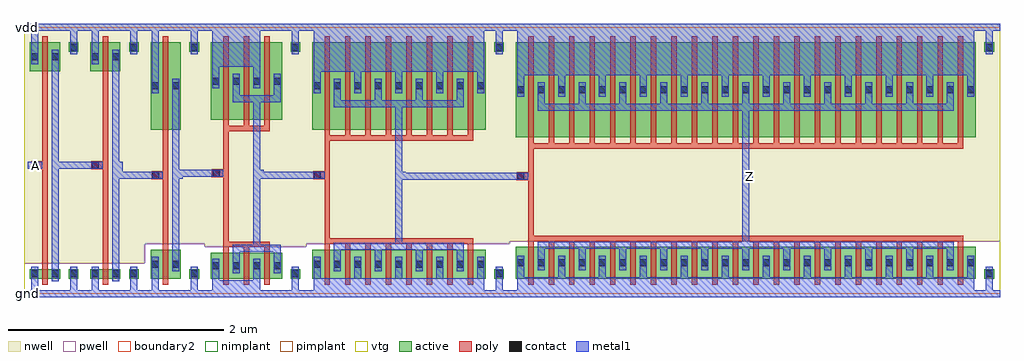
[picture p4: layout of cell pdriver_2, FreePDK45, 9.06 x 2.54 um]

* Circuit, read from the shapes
.subckt pdriver_2 A Z gnd vdd
M1 pinv_5_1/A A gnd gnd nfet w=0.09u l=0.05u
M2 pinv_10_2/A pinv_5_1/A gnd gnd nfet w=0.09u l=0.05u
M3 pinv_11_3/A pinv_10_2/A gnd gnd nfet w=0.27u l=0.05u
M4 pinv_12_4/A pinv_11_3/A gnd gnd nfet w=0.24u l=0.05u m=3
M5 pinv_13_5/A pinv_12_4/A gnd gnd nfet w=0.27u l=0.05u m=8
M6 Z pinv_13_5/A gnd gnd nfet w=0.295u l=0.05u m=22
M7 pinv_5_1/A A vdd vdd pfet w=0.27u l=0.05u
M8 pinv_10_2/A pinv_5_1/A vdd vdd pfet w=0.27u l=0.05u
M9 pinv_11_3/A pinv_10_2/A vdd vdd pfet w=0.81u l=0.05u
M10 pinv_12_4/A pinv_11_3/A vdd vdd pfet w=0.72u l=0.05u m=3
M11 pinv_13_5/A pinv_12_4/A vdd vdd pfet w=0.81u l=0.05u m=8
M12 Z pinv_13_5/A vdd vdd pfet w=0.8825u l=0.05u m=22
.ends

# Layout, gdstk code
import gdstk
lib = gdstk.Library(unit=1e-6, precision=5e-10)
def R(c, l, rs):  # rectangles x0, y0, x1, y1
    for r in rs: c.add(gdstk.rectangle(r[:2], r[2:], *l))
def A(c, l, x, y, w, h, nx, ny, dx, dy):  # array of equal rectangles
    R(c, l, [(x+i*dx, y+j*dy, x+i*dx+w, y+j*dy+h) for i in range(nx) for j in range(ny)])
active = (1, 0)
pwell = (2, 0)
nwell = (3, 0)
nimplant = (4, 0)
pimplant = (5, 0)
vtg = (6, 0)
poly = (9, 0)
contact = (10, 0)
metal1 = (11, 0)
boundary2 = (239, 0)

contact_9 = lib.new_cell('contact_9')
R(contact_9, active, [(0,0.0225,0.09,0.1125)])
R(contact_9, nwell, [(-0.055,-0.0325,0.145,0.1675)])
R(contact_9, pimplant, [(0,0.0225,0.09,0.1125)])
R(contact_9, contact, [(0.0125,0.035,0.0775,0.1)])
R(contact_9, metal1, [(0.0125,0,0.0775,0.135)])

pmos_m1_w0_270_a_p = lib.new_cell('pmos_m1_w0_270_a_p')
R(pmos_m1_w0_270_a_p, active, [(0,0,0.28,0.27)])
R(pmos_m1_w0_270_a_p, nwell, [(-0.055,-0.055,0.335,0.325)])
R(pmos_m1_w0_270_a_p, pimplant, [(0,0,0.28,0.27)])
R(pmos_m1_w0_270_a_p, vtg, [(-0.055,-0.055,0.335,0.325)])
R(pmos_m1_w0_270_a_p, poly, [(0.115,-0.055,0.165,0.325), (0.115,-0.055,0.165,0.325)])
R(pmos_m1_w0_270_a_p, metal1, [(0.0125,0.0675,0.0775,0.2025), (0.2025,0.0675,0.2675,0.2025)])
pmos_m1_w0_270_a_p.add(gdstk.Reference(contact_9, (0,0.0675)))
pmos_m1_w0_270_a_p.add(gdstk.Reference(contact_9, (0.19,0.0675)))
pmos_m1_w0_270_a_p.add(gdstk.Label('G', (0.14,0.135), layer=9, texttype=0))
pmos_m1_w0_270_a_p.add(gdstk.Label('S', (0.045,0.135), layer=11, texttype=0))
pmos_m1_w0_270_a_p.add(gdstk.Label('D', (0.235,0.135), layer=11, texttype=0))

contact_14 = lib.new_cell('contact_14')
R(contact_14, active, [(0,0.0225,0.09,0.1125)])
R(contact_14, pwell, [(-0.055,-0.0325,0.145,0.1675)])
R(contact_14, nimplant, [(0,0.0225,0.09,0.1125)])
R(contact_14, contact, [(0.0125,0.035,0.0775,0.1)])
R(contact_14, metal1, [(0.0125,0,0.0775,0.135)])

nmos_m1_w0_090_a_p = lib.new_cell('nmos_m1_w0_090_a_p')
R(nmos_m1_w0_090_a_p, active, [(0,0,0.28,0.09)])
R(nmos_m1_w0_090_a_p, pwell, [(-0.055,-0.055,0.335,0.145)])
R(nmos_m1_w0_090_a_p, nimplant, [(0,0,0.28,0.09)])
R(nmos_m1_w0_090_a_p, vtg, [(-0.055,-0.055,0.335,0.145)])
R(nmos_m1_w0_090_a_p, poly, [(0.115,-0.055,0.165,0.145), (0.115,-0.055,0.165,0.145)])
R(nmos_m1_w0_090_a_p, metal1, [(0.0125,-0.0225,0.0775,0.1125), (0.2025,-0.0225,0.2675,0.1125)])
nmos_m1_w0_090_a_p.add(gdstk.Reference(contact_14, (0,-0.0225)))
nmos_m1_w0_090_a_p.add(gdstk.Reference(contact_14, (0.19,-0.0225)))
nmos_m1_w0_090_a_p.add(gdstk.Label('G', (0.14,0.045), layer=9, texttype=0))
nmos_m1_w0_090_a_p.add(gdstk.Label('S', (0.045,0.045), layer=11, texttype=0))
nmos_m1_w0_090_a_p.add(gdstk.Label('D', (0.235,0.045), layer=11, texttype=0))

contact_18 = lib.new_cell('contact_18')
R(contact_18, active, [(0,0.0225,0.09,0.1125)])
R(contact_18, nwell, [(-0.055,-0.0325,0.145,0.1675)])
R(contact_18, nimplant, [(0,0.0225,0.09,0.1125)])
R(contact_18, contact, [(0.0125,0.035,0.0775,0.1)])
R(contact_18, metal1, [(0.0125,0,0.0775,0.135)])

contact_19 = lib.new_cell('contact_19')
R(contact_19, active, [(0,0.0225,0.09,0.1125)])
R(contact_19, pwell, [(-0.055,-0.0325,0.145,0.1675)])
R(contact_19, pimplant, [(0,0.0225,0.09,0.1125)])
R(contact_19, contact, [(0.0125,0.035,0.0775,0.1)])
R(contact_19, metal1, [(0.0125,0,0.0775,0.135)])

contact_10 = lib.new_cell('contact_10')
R(contact_10, poly, [(0.03,0,0.105,0.075)])
R(contact_10, contact, [(0.035,0.005,0.1,0.07)])
R(contact_10, metal1, [(0,0.005,0.135,0.07)])

pinv_5 = lib.new_cell('pinv_5')
R(pinv_5, pwell, [(0,-0.0325,0.56,0.285)])
R(pinv_5, nwell, [(0,0.285,0.56,2.5075)])
R(pinv_5, vtg, [(0,-0.0325,0.56,0.285), (0,0.285,0.56,2.5075)])
R(pinv_5, poly, [(0.17,0.085,0.22,2.01), (0.1025,1.155,0.17,1.23)])
R(pinv_5, metal1, [(0,-0.0325,0.56,0.0325), (0.0675,-0.0325,0.1325,0.1175), (0.4275,0,0.4925,0.185), (0.2575,0.1175,0.3225,2.2675), (0.035,1.16,0.17,1.225), (0.29,1.16,0.355,1.225), (0.0675,2.1325,0.1325,2.5075), (0.4275,2.29,0.4925,2.475), (0,2.4425,0.56,2.5075)])
R(pinv_5, boundary2, [(0,0,0.56,2.475)])
pinv_5.add(gdstk.Reference(pmos_m1_w0_270_a_p, (0.055,2.065)))
pinv_5.add(gdstk.Reference(nmos_m1_w0_090_a_p, (0.055,0.14)))
pinv_5.add(gdstk.Reference(contact_18, (0.415,2.2225)))
pinv_5.add(gdstk.Reference(contact_19, (0.415,0.1175)))
pinv_5.add(gdstk.Reference(contact_10, (0.035,1.155)))
pinv_5.add(gdstk.Label('gnd', (0.28,0), layer=11, texttype=0))
pinv_5.add(gdstk.Label('vdd', (0.28,2.475), layer=11, texttype=0))
pinv_5.add(gdstk.Label('A', (0.1025,1.1925), layer=11, texttype=0))
pinv_5.add(gdstk.Label('Z', (0.3225,1.1925), layer=11, texttype=0))

pmos_m1_w0_810_a_p = lib.new_cell('pmos_m1_w0_810_a_p')
R(pmos_m1_w0_810_a_p, active, [(0,0,0.28,0.81)])
R(pmos_m1_w0_810_a_p, nwell, [(-0.055,-0.055,0.335,0.865)])
R(pmos_m1_w0_810_a_p, pimplant, [(0,0,0.28,0.81)])
R(pmos_m1_w0_810_a_p, vtg, [(-0.055,-0.055,0.335,0.865)])
R(pmos_m1_w0_810_a_p, poly, [(0.115,-0.055,0.165,0.865), (0.115,-0.055,0.165,0.865)])
R(pmos_m1_w0_810_a_p, metal1, [(0.0125,0.3375,0.0775,0.4725), (0.2025,0.3375,0.2675,0.4725)])
pmos_m1_w0_810_a_p.add(gdstk.Reference(contact_9, (0,0.3375)))
pmos_m1_w0_810_a_p.add(gdstk.Reference(contact_9, (0.19,0.3375)))
pmos_m1_w0_810_a_p.add(gdstk.Label('G', (0.14,0.405), layer=9, texttype=0))
pmos_m1_w0_810_a_p.add(gdstk.Label('S', (0.045,0.405), layer=11, texttype=0))
pmos_m1_w0_810_a_p.add(gdstk.Label('D', (0.235,0.405), layer=11, texttype=0))

nmos_m1_w0_270_a_p = lib.new_cell('nmos_m1_w0_270_a_p')
R(nmos_m1_w0_270_a_p, active, [(0,0,0.28,0.27)])
R(nmos_m1_w0_270_a_p, pwell, [(-0.055,-0.055,0.335,0.325)])
R(nmos_m1_w0_270_a_p, nimplant, [(0,0,0.28,0.27)])
R(nmos_m1_w0_270_a_p, vtg, [(-0.055,-0.055,0.335,0.325)])
R(nmos_m1_w0_270_a_p, poly, [(0.115,-0.055,0.165,0.325), (0.115,-0.055,0.165,0.325)])
R(nmos_m1_w0_270_a_p, metal1, [(0.0125,0.0675,0.0775,0.2025), (0.2025,0.0675,0.2675,0.2025)])
nmos_m1_w0_270_a_p.add(gdstk.Reference(contact_14, (0,0.0675)))
nmos_m1_w0_270_a_p.add(gdstk.Reference(contact_14, (0.19,0.0675)))
nmos_m1_w0_270_a_p.add(gdstk.Label('G', (0.14,0.135), layer=9, texttype=0))
nmos_m1_w0_270_a_p.add(gdstk.Label('S', (0.045,0.135), layer=11, texttype=0))
nmos_m1_w0_270_a_p.add(gdstk.Label('D', (0.235,0.135), layer=11, texttype=0))

pinv_10 = lib.new_cell('pinv_10')
R(pinv_10, pwell, [(0,-0.0325,0.56,0.465)])
R(pinv_10, nwell, [(0,0.465,0.56,2.5075)])
R(pinv_10, vtg, [(0,-0.0325,0.56,0.465), (0,0.465,0.56,2.5075)])
R(pinv_10, poly, [(0.17,0.085,0.22,1.47), (0.1025,1.065,0.17,1.14)])
R(pinv_10, metal1, [(0,-0.0325,0.56,0.0325), (0.0675,-0.0325,0.1325,0.2075), (0.4275,0,0.4925,0.185), (0.2575,0.2075,0.3225,1.9975), (0.035,1.07,0.17,1.135), (0.29,1.07,0.355,1.135), (0.0675,1.8625,0.1325,2.5075), (0.4275,2.29,0.4925,2.475), (0,2.4425,0.56,2.5075)])
R(pinv_10, boundary2, [(0,0,0.56,2.475)])
pinv_10.add(gdstk.Reference(pmos_m1_w0_810_a_p, (0.055,1.525)))
pinv_10.add(gdstk.Reference(nmos_m1_w0_270_a_p, (0.055,0.14)))
pinv_10.add(gdstk.Reference(contact_18, (0.415,2.2225)))
pinv_10.add(gdstk.Reference(contact_19, (0.415,0.1175)))
pinv_10.add(gdstk.Reference(contact_10, (0.035,1.065)))
pinv_10.add(gdstk.Label('gnd', (0.28,0), layer=11, texttype=0))
pinv_10.add(gdstk.Label('vdd', (0.28,2.475), layer=11, texttype=0))
pinv_10.add(gdstk.Label('A', (0.1025,1.1025), layer=11, texttype=0))
pinv_10.add(gdstk.Label('Z', (0.3225,1.1025), layer=11, texttype=0))

pmos_m3_w0_720_a_p = lib.new_cell('pmos_m3_w0_720_a_p')
R(pmos_m3_w0_720_a_p, active, [(0,0,0.66,0.72)])
R(pmos_m3_w0_720_a_p, nwell, [(-0.055,-0.055,0.715,0.775)])
R(pmos_m3_w0_720_a_p, pimplant, [(0,0,0.66,0.72)])
R(pmos_m3_w0_720_a_p, vtg, [(-0.055,-0.055,0.715,0.775)])
A(pmos_m3_w0_720_a_p, poly, 0.115, -0.055, 0.05, 0.83, 3, 1, 0.19, 0)
R(pmos_m3_w0_720_a_p, poly, [(0.115,-0.105,0.545,-0.055)])
R(pmos_m3_w0_720_a_p, metal1, [(0.2025,0.1625,0.6475,0.2275), (0.2025,0.195,0.2675,0.36), (0.5825,0.195,0.6475,0.36), (0.0125,0.36,0.0775,0.525), (0.3925,0.36,0.4575,0.525), (0.0125,0.4925,0.4575,0.5575)])
pmos_m3_w0_720_a_p.add(gdstk.Reference(contact_9, (0,0.2925)))
pmos_m3_w0_720_a_p.add(gdstk.Reference(contact_9, (0.38,0.2925)))
pmos_m3_w0_720_a_p.add(gdstk.Reference(contact_9, (0.19,0.2925)))
pmos_m3_w0_720_a_p.add(gdstk.Reference(contact_9, (0.57,0.2925)))
pmos_m3_w0_720_a_p.add(gdstk.Label('G', (0.33,-0.08), layer=9, texttype=0))
pmos_m3_w0_720_a_p.add(gdstk.Label('S', (0.235,0.525), layer=11, texttype=0))
pmos_m3_w0_720_a_p.add(gdstk.Label('D', (0.425,0.195), layer=11, texttype=0))

nmos_m3_w0_240_a_p = lib.new_cell('nmos_m3_w0_240_a_p')
R(nmos_m3_w0_240_a_p, active, [(0,0,0.66,0.24)])
R(nmos_m3_w0_240_a_p, pwell, [(-0.055,-0.055,0.715,0.295)])
R(nmos_m3_w0_240_a_p, nimplant, [(0,0,0.66,0.24)])
R(nmos_m3_w0_240_a_p, vtg, [(-0.055,-0.055,0.715,0.295)])
A(nmos_m3_w0_240_a_p, poly, 0.115, -0.055, 0.05, 0.35, 3, 1, 0.19, 0)
R(nmos_m3_w0_240_a_p, poly, [(0.115,0.295,0.545,0.345)])
R(nmos_m3_w0_240_a_p, metal1, [(0.0125,-0.0775,0.4575,-0.0125), (0.0125,-0.045,0.0775,0.12), (0.3925,-0.045,0.4575,0.12), (0.2025,0.12,0.2675,0.285), (0.5825,0.12,0.6475,0.285), (0.2025,0.2525,0.6475,0.3175)])
nmos_m3_w0_240_a_p.add(gdstk.Reference(contact_14, (0,0.0525)))
nmos_m3_w0_240_a_p.add(gdstk.Reference(contact_14, (0.38,0.0525)))
nmos_m3_w0_240_a_p.add(gdstk.Reference(contact_14, (0.19,0.0525)))
nmos_m3_w0_240_a_p.add(gdstk.Reference(contact_14, (0.57,0.0525)))
nmos_m3_w0_240_a_p.add(gdstk.Label('G', (0.33,0.32), layer=9, texttype=0))
nmos_m3_w0_240_a_p.add(gdstk.Label('S', (0.235,-0.045), layer=11, texttype=0))
nmos_m3_w0_240_a_p.add(gdstk.Label('D', (0.425,0.285), layer=11, texttype=0))

pinv_11 = lib.new_cell('pinv_11')
R(pinv_11, pwell, [(0,-0.0325,0.94,0.435)])
R(pinv_11, nwell, [(0,0.435,0.94,2.5075)])
R(pinv_11, vtg, [(0,-0.0325,0.94,0.435), (0,0.435,0.94,2.5075)])
R(pinv_11, poly, [(0.17,0.435,0.22,1.51), (0.1025,1.08,0.17,1.155)])
R(pinv_11, metal1, [(0,-0.0325,0.94,0.0325), (0.0675,-0.0325,0.5125,0.0625), (0.8075,0,0.8725,0.185), (0.4475,0.3925,0.5125,1.8425), (0.035,1.085,0.17,1.15), (0.48,1.085,0.545,1.15), (0.0675,2.1075,0.5125,2.5075), (0.8075,2.29,0.8725,2.475), (0,2.4425,0.94,2.5075)])
R(pinv_11, boundary2, [(0,0,0.94,2.475)])
pinv_11.add(gdstk.Reference(pmos_m3_w0_720_a_p, (0.055,1.615)))
pinv_11.add(gdstk.Reference(nmos_m3_w0_240_a_p, (0.055,0.14)))
pinv_11.add(gdstk.Reference(contact_18, (0.795,2.2225)))
pinv_11.add(gdstk.Reference(contact_19, (0.795,0.1175)))
pinv_11.add(gdstk.Reference(contact_10, (0.035,1.08)))
pinv_11.add(gdstk.Label('gnd', (0.47,0), layer=11, texttype=0))
pinv_11.add(gdstk.Label('vdd', (0.47,2.475), layer=11, texttype=0))
pinv_11.add(gdstk.Label('A', (0.1025,1.1175), layer=11, texttype=0))
pinv_11.add(gdstk.Label('Z', (0.5125,1.1175), layer=11, texttype=0))

pmos_m8_w0_810_a_p = lib.new_cell('pmos_m8_w0_810_a_p')
R(pmos_m8_w0_810_a_p, active, [(0,0,1.61,0.81)])
R(pmos_m8_w0_810_a_p, nwell, [(-0.055,-0.055,1.665,0.865)])
R(pmos_m8_w0_810_a_p, pimplant, [(0,0,1.61,0.81)])
R(pmos_m8_w0_810_a_p, vtg, [(-0.055,-0.055,1.665,0.865)])
A(pmos_m8_w0_810_a_p, poly, 0.115, -0.055, 0.05, 0.92, 8, 1, 0.19, 0)
R(pmos_m8_w0_810_a_p, poly, [(0.115,-0.105,1.495,-0.055)])
A(pmos_m8_w0_810_a_p, metal1, 0.2025, 0.24, 0.065, 0.165, 4, 1, 0.38, 0)
A(pmos_m8_w0_810_a_p, metal1, 0.0125, 0.405, 0.065, 0.165, 5, 1, 0.38, 0)
R(pmos_m8_w0_810_a_p, metal1, [(0.2025,0.2075,1.4075,0.2725), (0.0125,0.5375,1.5975,0.6025)])
pmos_m8_w0_810_a_p.add(gdstk.Reference(contact_9, (0,0.3375)))
pmos_m8_w0_810_a_p.add(gdstk.Reference(contact_9, (0.38,0.3375)))
pmos_m8_w0_810_a_p.add(gdstk.Reference(contact_9, (0.76,0.3375)))
pmos_m8_w0_810_a_p.add(gdstk.Reference(contact_9, (1.14,0.3375)))
pmos_m8_w0_810_a_p.add(gdstk.Reference(contact_9, (1.52,0.3375)))
pmos_m8_w0_810_a_p.add(gdstk.Reference(contact_9, (0.19,0.3375)))
pmos_m8_w0_810_a_p.add(gdstk.Reference(contact_9, (0.57,0.3375)))
pmos_m8_w0_810_a_p.add(gdstk.Reference(contact_9, (0.95,0.3375)))
pmos_m8_w0_810_a_p.add(gdstk.Reference(contact_9, (1.33,0.3375)))
pmos_m8_w0_810_a_p.add(gdstk.Label('G', (0.805,-0.08), layer=9, texttype=0))
pmos_m8_w0_810_a_p.add(gdstk.Label('S', (0.805,0.57), layer=11, texttype=0))
pmos_m8_w0_810_a_p.add(gdstk.Label('D', (0.805,0.24), layer=11, texttype=0))

nmos_m8_w0_270_a_p = lib.new_cell('nmos_m8_w0_270_a_p')
R(nmos_m8_w0_270_a_p, active, [(0,0,1.61,0.27)])
R(nmos_m8_w0_270_a_p, pwell, [(-0.055,-0.055,1.665,0.325)])
R(nmos_m8_w0_270_a_p, nimplant, [(0,0,1.61,0.27)])
R(nmos_m8_w0_270_a_p, vtg, [(-0.055,-0.055,1.665,0.325)])
A(nmos_m8_w0_270_a_p, poly, 0.115, -0.055, 0.05, 0.38, 8, 1, 0.19, 0)
R(nmos_m8_w0_270_a_p, poly, [(0.115,0.325,1.495,0.375)])
A(nmos_m8_w0_270_a_p, metal1, 0.0125, -0.03, 0.065, 0.165, 5, 1, 0.38, 0)
A(nmos_m8_w0_270_a_p, metal1, 0.2025, 0.135, 0.065, 0.165, 4, 1, 0.38, 0)
R(nmos_m8_w0_270_a_p, metal1, [(0.0125,-0.0625,1.5975,0.0025), (0.2025,0.2675,1.4075,0.3325)])
nmos_m8_w0_270_a_p.add(gdstk.Reference(contact_14, (0,0.0675)))
nmos_m8_w0_270_a_p.add(gdstk.Reference(contact_14, (0.38,0.0675)))
nmos_m8_w0_270_a_p.add(gdstk.Reference(contact_14, (0.76,0.0675)))
nmos_m8_w0_270_a_p.add(gdstk.Reference(contact_14, (1.14,0.0675)))
nmos_m8_w0_270_a_p.add(gdstk.Reference(contact_14, (1.52,0.0675)))
nmos_m8_w0_270_a_p.add(gdstk.Reference(contact_14, (0.19,0.0675)))
nmos_m8_w0_270_a_p.add(gdstk.Reference(contact_14, (0.57,0.0675)))
nmos_m8_w0_270_a_p.add(gdstk.Reference(contact_14, (0.95,0.0675)))
nmos_m8_w0_270_a_p.add(gdstk.Reference(contact_14, (1.33,0.0675)))
nmos_m8_w0_270_a_p.add(gdstk.Label('G', (0.805,0.35), layer=9, texttype=0))
nmos_m8_w0_270_a_p.add(gdstk.Label('S', (0.805,-0.03), layer=11, texttype=0))
nmos_m8_w0_270_a_p.add(gdstk.Label('D', (0.805,0.3), layer=11, texttype=0))

pinv_12 = lib.new_cell('pinv_12')
R(pinv_12, pwell, [(0,-0.0325,1.89,0.465)])
R(pinv_12, nwell, [(0,0.465,1.89,2.5075)])
R(pinv_12, vtg, [(0,-0.0325,1.89,0.465), (0,0.465,1.89,2.5075)])
R(pinv_12, poly, [(0.17,0.465,0.22,1.42), (0.1025,1.065,0.17,1.14)])
R(pinv_12, metal1, [(0,-0.0325,1.89,0.0325), (0.0675,-0.0325,1.6525,0.0775), (1.7575,0,1.8225,0.185), (0.8275,0.4075,0.8925,1.7975), (0.035,1.07,0.17,1.135), (0.86,1.07,0.925,1.135), (0.0675,2.0625,1.6525,2.5075), (1.7575,2.29,1.8225,2.475), (0,2.4425,1.89,2.5075)])
R(pinv_12, boundary2, [(0,0,1.89,2.475)])
pinv_12.add(gdstk.Reference(pmos_m8_w0_810_a_p, (0.055,1.525)))
pinv_12.add(gdstk.Reference(nmos_m8_w0_270_a_p, (0.055,0.14)))
pinv_12.add(gdstk.Reference(contact_18, (1.745,2.2225)))
pinv_12.add(gdstk.Reference(contact_19, (1.745,0.1175)))
pinv_12.add(gdstk.Reference(contact_10, (0.035,1.065)))
pinv_12.add(gdstk.Label('gnd', (0.945,0), layer=11, texttype=0))
pinv_12.add(gdstk.Label('vdd', (0.945,2.475), layer=11, texttype=0))
pinv_12.add(gdstk.Label('A', (0.1025,1.1025), layer=11, texttype=0))
pinv_12.add(gdstk.Label('Z', (0.8925,1.1025), layer=11, texttype=0))

pmos_m22_w0_883_a_p = lib.new_cell('pmos_m22_w0_883_a_p')
R(pmos_m22_w0_883_a_p, active, [(0,0,4.27,0.8825)])
R(pmos_m22_w0_883_a_p, nwell, [(-0.055,-0.055,4.325,0.9375)])
R(pmos_m22_w0_883_a_p, pimplant, [(0,0,4.27,0.8825)])
R(pmos_m22_w0_883_a_p, vtg, [(-0.055,-0.055,4.325,0.9375)])
A(pmos_m22_w0_883_a_p, poly, 0.115, -0.055, 0.05, 0.9925, 22, 1, 0.19, 0)
R(pmos_m22_w0_883_a_p, poly, [(0.115,-0.105,4.155,-0.055)])
A(pmos_m22_w0_883_a_p, metal1, 0.2025, 0.275, 0.065, 0.165, 11, 1, 0.38, 0)
A(pmos_m22_w0_883_a_p, metal1, 0.0125, 0.44, 0.065, 0.165, 12, 1, 0.38, 0)
R(pmos_m22_w0_883_a_p, metal1, [(0.2025,0.245,4.0675,0.31), (0.0125,0.575,4.2575,0.64)])
pmos_m22_w0_883_a_p.add(gdstk.Reference(contact_9, (0,0.375)))
pmos_m22_w0_883_a_p.add(gdstk.Reference(contact_9, (0.38,0.375)))
pmos_m22_w0_883_a_p.add(gdstk.Reference(contact_9, (0.76,0.375)))
pmos_m22_w0_883_a_p.add(gdstk.Reference(contact_9, (1.14,0.375)))
pmos_m22_w0_883_a_p.add(gdstk.Reference(contact_9, (1.52,0.375)))
pmos_m22_w0_883_a_p.add(gdstk.Reference(contact_9, (1.9,0.375)))
pmos_m22_w0_883_a_p.add(gdstk.Reference(contact_9, (2.28,0.375)))
pmos_m22_w0_883_a_p.add(gdstk.Reference(contact_9, (2.66,0.375)))
pmos_m22_w0_883_a_p.add(gdstk.Reference(contact_9, (3.04,0.375)))
pmos_m22_w0_883_a_p.add(gdstk.Reference(contact_9, (3.42,0.375)))
pmos_m22_w0_883_a_p.add(gdstk.Reference(contact_9, (3.8,0.375)))
pmos_m22_w0_883_a_p.add(gdstk.Reference(contact_9, (4.18,0.375)))
pmos_m22_w0_883_a_p.add(gdstk.Reference(contact_9, (0.19,0.375)))
pmos_m22_w0_883_a_p.add(gdstk.Reference(contact_9, (0.57,0.375)))
pmos_m22_w0_883_a_p.add(gdstk.Reference(contact_9, (0.95,0.375)))
pmos_m22_w0_883_a_p.add(gdstk.Reference(contact_9, (1.33,0.375)))
pmos_m22_w0_883_a_p.add(gdstk.Reference(contact_9, (1.71,0.375)))
pmos_m22_w0_883_a_p.add(gdstk.Reference(contact_9, (2.09,0.375)))
pmos_m22_w0_883_a_p.add(gdstk.Reference(contact_9, (2.47,0.375)))
pmos_m22_w0_883_a_p.add(gdstk.Reference(contact_9, (2.85,0.375)))
pmos_m22_w0_883_a_p.add(gdstk.Reference(contact_9, (3.23,0.375)))
pmos_m22_w0_883_a_p.add(gdstk.Reference(contact_9, (3.61,0.375)))
pmos_m22_w0_883_a_p.add(gdstk.Reference(contact_9, (3.99,0.375)))
pmos_m22_w0_883_a_p.add(gdstk.Label('G', (2.135,-0.08), layer=9, texttype=0))
pmos_m22_w0_883_a_p.add(gdstk.Label('S', (2.135,0.6075), layer=11, texttype=0))
pmos_m22_w0_883_a_p.add(gdstk.Label('D', (2.135,0.2775), layer=11, texttype=0))

nmos_m22_w0_295_a_p = lib.new_cell('nmos_m22_w0_295_a_p')
R(nmos_m22_w0_295_a_p, active, [(0,0,4.27,0.295)])
R(nmos_m22_w0_295_a_p, pwell, [(-0.055,-0.055,4.325,0.35)])
R(nmos_m22_w0_295_a_p, nimplant, [(0,0,4.27,0.295)])
R(nmos_m22_w0_295_a_p, vtg, [(-0.055,-0.055,4.325,0.35)])
A(nmos_m22_w0_295_a_p, poly, 0.115, -0.055, 0.05, 0.405, 22, 1, 0.19, 0)
R(nmos_m22_w0_295_a_p, poly, [(0.115,0.35,4.155,0.4)])
A(nmos_m22_w0_295_a_p, metal1, 0.0125, -0.0175, 0.065, 0.165, 12, 1, 0.38, 0)
A(nmos_m22_w0_295_a_p, metal1, 0.2025, 0.1475, 0.065, 0.165, 11, 1, 0.38, 0)
R(nmos_m22_w0_295_a_p, metal1, [(0.0125,-0.05,4.2575,0.015), (0.2025,0.28,4.0675,0.345)])
nmos_m22_w0_295_a_p.add(gdstk.Reference(contact_14, (0,0.08)))
nmos_m22_w0_295_a_p.add(gdstk.Reference(contact_14, (0.38,0.08)))
nmos_m22_w0_295_a_p.add(gdstk.Reference(contact_14, (0.76,0.08)))
nmos_m22_w0_295_a_p.add(gdstk.Reference(contact_14, (1.14,0.08)))
nmos_m22_w0_295_a_p.add(gdstk.Reference(contact_14, (1.52,0.08)))
nmos_m22_w0_295_a_p.add(gdstk.Reference(contact_14, (1.9,0.08)))
nmos_m22_w0_295_a_p.add(gdstk.Reference(contact_14, (2.28,0.08)))
nmos_m22_w0_295_a_p.add(gdstk.Reference(contact_14, (2.66,0.08)))
nmos_m22_w0_295_a_p.add(gdstk.Reference(contact_14, (3.04,0.08)))
nmos_m22_w0_295_a_p.add(gdstk.Reference(contact_14, (3.42,0.08)))
nmos_m22_w0_295_a_p.add(gdstk.Reference(contact_14, (3.8,0.08)))
nmos_m22_w0_295_a_p.add(gdstk.Reference(contact_14, (4.18,0.08)))
nmos_m22_w0_295_a_p.add(gdstk.Reference(contact_14, (0.19,0.08)))
nmos_m22_w0_295_a_p.add(gdstk.Reference(contact_14, (0.57,0.08)))
nmos_m22_w0_295_a_p.add(gdstk.Reference(contact_14, (0.95,0.08)))
nmos_m22_w0_295_a_p.add(gdstk.Reference(contact_14, (1.33,0.08)))
nmos_m22_w0_295_a_p.add(gdstk.Reference(contact_14, (1.71,0.08)))
nmos_m22_w0_295_a_p.add(gdstk.Reference(contact_14, (2.09,0.08)))
nmos_m22_w0_295_a_p.add(gdstk.Reference(contact_14, (2.47,0.08)))
nmos_m22_w0_295_a_p.add(gdstk.Reference(contact_14, (2.85,0.08)))
nmos_m22_w0_295_a_p.add(gdstk.Reference(contact_14, (3.23,0.08)))
nmos_m22_w0_295_a_p.add(gdstk.Reference(contact_14, (3.61,0.08)))
nmos_m22_w0_295_a_p.add(gdstk.Reference(contact_14, (3.99,0.08)))
nmos_m22_w0_295_a_p.add(gdstk.Label('G', (2.135,0.375), layer=9, texttype=0))
nmos_m22_w0_295_a_p.add(gdstk.Label('S', (2.135,-0.0175), layer=11, texttype=0))
nmos_m22_w0_295_a_p.add(gdstk.Label('D', (2.135,0.3125), layer=11, texttype=0))

pinv_13 = lib.new_cell('pinv_13')
R(pinv_13, pwell, [(0,-0.0325,4.55,0.49)])
R(pinv_13, nwell, [(0,0.49,4.55,2.5075)])
R(pinv_13, vtg, [(0,-0.0325,4.55,0.49), (0,0.49,4.55,2.5075)])
R(pinv_13, poly, [(0.17,0.49,0.22,1.3475), (0.1025,1.055,0.17,1.13)])
R(pinv_13, metal1, [(0,-0.0325,4.55,0.0325), (0.0675,-0.0325,4.3125,0.09), (4.4175,0,4.4825,0.185), (2.1575,0.42,2.2225,1.7625), (0.035,1.06,0.17,1.125), (2.19,1.06,2.255,1.125), (0.0675,2.0275,4.3125,2.5075), (4.4175,2.29,4.4825,2.475), (0,2.4425,4.55,2.5075)])
R(pinv_13, boundary2, [(0,0,4.55,2.475)])
pinv_13.add(gdstk.Reference(pmos_m22_w0_883_a_p, (0.055,1.4525)))
pinv_13.add(gdstk.Reference(nmos_m22_w0_295_a_p, (0.055,0.14)))
pinv_13.add(gdstk.Reference(contact_18, (4.405,2.2225)))
pinv_13.add(gdstk.Reference(contact_19, (4.405,0.1175)))
pinv_13.add(gdstk.Reference(contact_10, (0.035,1.055)))
pinv_13.add(gdstk.Label('gnd', (2.275,0), layer=11, texttype=0))
pinv_13.add(gdstk.Label('vdd', (2.275,2.475), layer=11, texttype=0))
pinv_13.add(gdstk.Label('A', (0.1025,1.0925), layer=11, texttype=0))
pinv_13.add(gdstk.Label('Z', (2.2225,1.0925), layer=11, texttype=0))

pdriver_2 = lib.new_cell('pdriver_2')
R(pdriver_2, metal1, [(0,-0.0325,0.065,0.0325), (3.48,1.06,3.545,1.125), (3.5125,1.06,4.6125,1.125), (6.7,1.06,6.765,1.125), (0.85,1.07,0.915,1.135), (0.8825,1.07,1.2225,1.135), (2.16,1.07,2.225,1.135), (2.1925,1.07,2.7225,1.135), (1.41,1.085,1.475,1.15), (1.4425,1.085,1.7825,1.15), (3.48,1.0925,3.545,1.1025), (0.85,1.1025,0.915,1.1925), (1.41,1.1025,1.475,1.1175), (2.16,1.1025,2.225,1.1175), (0.035,1.16,0.17,1.225), (0.3225,1.16,0.6625,1.225), (0,2.4425,0.065,2.5075)])
R(pdriver_2, boundary2, [(0,0,9.06,2.475)])
pdriver_2.add(gdstk.Reference(pinv_5, (0,0)))
pdriver_2.add(gdstk.Reference(pinv_5, (0.56,0)))
pdriver_2.add(gdstk.Reference(pinv_10, (1.12,0)))
pdriver_2.add(gdstk.Reference(pinv_11, (1.68,0)))
pdriver_2.add(gdstk.Reference(pinv_12, (2.62,0)))
pdriver_2.add(gdstk.Reference(pinv_13, (4.51,0)))
pdriver_2.add(gdstk.Label('vdd', (0.0325,2.475), layer=11, texttype=0))
pdriver_2.add(gdstk.Label('gnd', (0.0325,0), layer=11, texttype=0))
pdriver_2.add(gdstk.Label('Z', (6.7325,1.0925), layer=11, texttype=0))
pdriver_2.add(gdstk.Label('A', (0.1025,1.1925), layer=11, texttype=0))

lib.write_gds('pdriver_2.gds')
